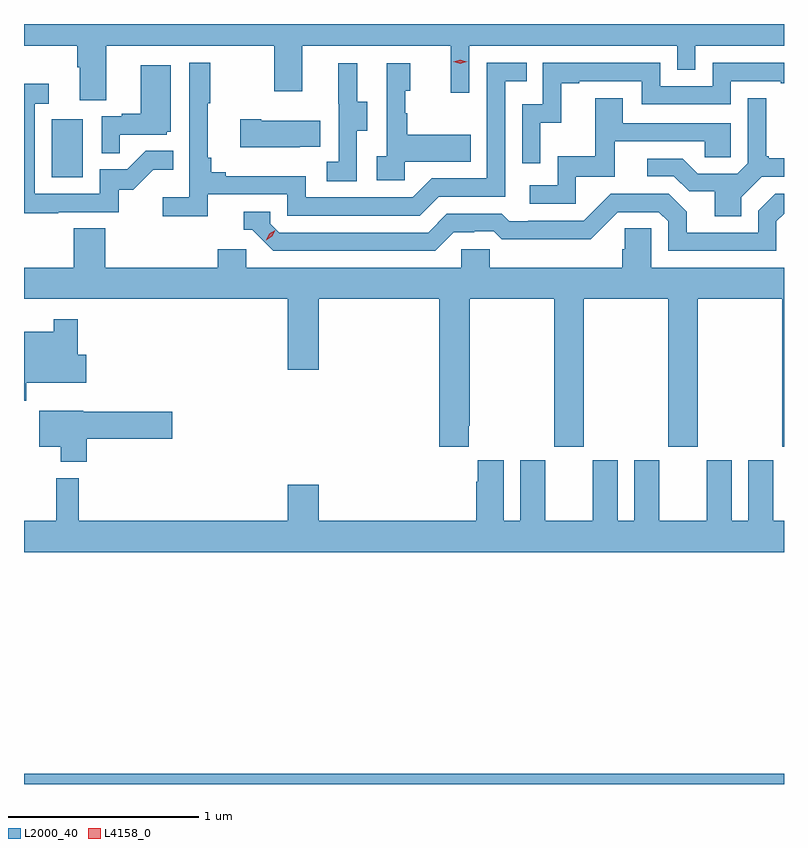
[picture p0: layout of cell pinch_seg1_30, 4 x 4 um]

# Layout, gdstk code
import gdstk
lib = gdstk.Library(unit=1e-6, precision=1e-09)
def R(c, l, rs):  # rectangles x0, y0, x1, y1
    for r in rs: c.add(gdstk.rectangle(r[:2], r[2:], *l))
def P(c, l, *ps):  # polygons
    for p in ps: c.add(gdstk.Polygon(p, *l))
L2000_40 = (2000, 40)
L4158_0 = (4158, 0)

pinch_seg1_30 = lib.new_cell('pinch_seg1_30')
R(pinch_seg1_30, L2000_40, [(1134.648,562.499,1138.648,562.552), (1134.794,565.692,1134.958,565.999)])
P(pinch_seg1_30, L2000_40, [(1135.081,566.384),(1135.966,566.384),(1135.966,566.145),(1136.113,566.145),(1136.113,566.384),(1136.894,566.384),(1136.894,566.136),(1136.991,566.136),(1136.991,566.384),(1138.086,566.384),(1138.086,566.257),(1138.182,566.257),(1138.182,566.384),(1138.648,566.384),(1138.648,566.499),(1134.648,566.499),(1134.648,566.384),(1134.929,566.384),(1134.929,566.272),(1134.941,566.272),(1134.941,566.098),(1135.081,566.098)],
  [(1135.616,565.602),(1136.034,565.602),(1136.034,565.491),(1136.731,565.491),(1136.83,565.59),(1137.18,565.59),(1137.18,566.199),(1137.293,566.199),(1137.293,566.295),(1137.084,566.295),(1137.084,565.686),(1136.793,565.686),(1136.694,565.587),(1136.13,565.587),(1136.13,565.699),(1135.711,565.699),(1135.711,565.718),(1135.634,565.718),(1135.634,565.795),(1135.615,565.795),(1135.615,566.083),(1135.627,566.083),(1135.627,566.296),(1135.518,566.296),(1135.518,565.588),(1135.377,565.588),(1135.377,565.486),(1135.616,565.486)],
  [(1137.366,565.979),(1137.476,565.979),(1137.476,566.187),(1137.571,566.187),(1137.571,566.199),(1137.9,566.199),(1137.9,566.076),(1138.368,566.076),(1138.368,566.199),(1138.631,566.199),(1138.631,566.187),(1138.648,566.187),(1138.648,566.295),(1138.272,566.295),(1138.272,566.172),(1137.996,566.172),(1137.996,566.295),(1137.378,566.295),(1137.378,566.076),(1137.27,566.076),(1137.27,565.767),(1137.366,565.767)],
  [(1136.4,565.936),(1136.455,565.936),(1136.455,566.091),(1136.401,566.091),(1136.401,566.293),(1136.303,566.293),(1136.303,566.079),(1136.304,566.079),(1136.304,565.775),(1136.241,565.775),(1136.241,565.672),(1136.4,565.672)],
  [(1136.652,565.775),(1136.999,565.775),(1136.999,565.915),(1136.665,565.915),(1136.665,566.03),(1136.655,566.03),(1136.655,566.148),(1136.68,566.148),(1136.68,566.293),(1136.556,566.293),(1136.556,565.802),(1136.505,565.802),(1136.505,565.677),(1136.652,565.677)],
  [(1135.151,565.917),(1135.398,565.917),(1135.398,565.932),(1135.42,565.932),(1135.42,566.281),(1135.262,566.281),(1135.262,566.026),(1135.163,566.026),(1135.163,566.013),(1135.056,566.013),(1135.056,565.819),(1135.151,565.819)],
  [(1134.827,565.509),(1135.146,565.509),(1135.146,565.626),(1135.222,565.626),(1135.329,565.733),(1135.433,565.733),(1135.433,565.832),(1135.289,565.832),(1135.191,565.734),(1135.047,565.734),(1135.047,565.605),(1134.705,565.605),(1134.705,566.079),(1134.778,566.079),(1134.778,566.185),(1134.648,566.185),(1134.648,565.504),(1134.827,565.504)],
  [(1137.552,565.695),(1137.757,565.695),(1137.757,565.881),(1138.231,565.881),(1138.231,565.797),(1138.368,565.797),(1138.368,565.977),(1137.799,565.977),(1137.799,566.107),(1137.655,566.107),(1137.655,565.804),(1137.456,565.804),(1137.456,565.65),(1137.309,565.65),(1137.309,565.554),(1137.552,565.554)],
  [(1138.423,565.588),(1138.53,565.695),(1138.648,565.695),(1138.648,565.792),(1138.567,565.792),(1138.567,565.804),(1138.555,565.804),(1138.555,566.107),(1138.458,566.107),(1138.458,565.767),(1138.401,565.71),(1138.195,565.71),(1138.114,565.791),(1137.927,565.791),(1137.927,565.698),(1138.068,565.698),(1138.148,565.618),(1138.283,565.618),(1138.283,565.486),(1138.423,565.486)],
  [(1136.099,565.853),(1136.207,565.853),(1136.207,565.99),(1135.897,565.99),(1135.897,565.998),(1135.785,565.998),(1135.785,565.85),(1136.099,565.85)],
  [(1136.911,565.404),(1137.018,565.404),(1137.018,565.407),(1137.121,565.407),(1137.163,565.365),(1137.396,565.365),(1137.396,565.367),(1137.632,565.367),(1137.774,565.509),(1137.99,565.509),(1138.038,565.461),(1138.038,565.305),(1138.608,565.305),(1138.608,565.461),(1138.648,565.501),(1138.648,565.605),(1138.602,565.605),(1138.512,565.515),(1138.512,565.401),(1138.135,565.401),(1138.135,565.511),(1138.041,565.605),(1137.735,565.605),(1137.594,565.464),(1137.301,565.464),(1137.301,565.461),(1137.202,565.461),(1137.163,565.5),(1136.874,565.5),(1136.775,565.401),(1135.992,565.401),(1135.944,565.449),(1135.944,565.512),(1135.805,565.512),(1135.805,565.416),(1135.848,565.416),(1135.959,565.305),(1136.812,565.305)],
  [(1136.989,564.385),(1136.994,564.385),(1136.994,565.052),(1137.439,565.052),(1137.439,564.273),(1137.594,564.273),(1137.594,565.052),(1138.039,565.052),(1138.039,564.273),(1138.194,564.273),(1138.194,565.052),(1138.639,565.052),(1138.639,564.273),(1138.648,564.273),(1138.648,565.216),(1137.948,565.216),(1137.948,565.424),(1137.811,565.424),(1137.811,565.314),(1137.797,565.314),(1137.797,565.216),(1137.099,565.216),(1137.099,565.314),(1136.949,565.314),(1136.949,565.216),(1135.818,565.216),(1135.818,565.314),(1135.667,565.314),(1135.667,565.216),(1135.076,565.216),(1135.076,565.424),(1134.911,565.424),(1134.911,565.216),(1134.648,565.216),(1134.648,565.052),(1136.036,565.052),(1136.036,564.678),(1136.2,564.678),(1136.2,565.052),(1136.834,565.052),(1136.834,564.273),(1136.989,564.273)],
  [(1134.659,564.611),(1134.976,564.611),(1134.976,564.759),(1134.932,564.759),(1134.932,564.946),(1134.804,564.946),(1134.804,564.88),(1134.648,564.88),(1134.648,564.515),(1134.659,564.515)],
  [(1134.977,564.316),(1135.429,564.316),(1135.429,564.458),(1134.96,564.458),(1134.96,564.463),(1134.728,564.463),(1134.728,564.275),(1134.842,564.275),(1134.842,564.194),(1134.977,564.194)],
  [(1138.648,563.884),(1138.591,563.884),(1138.591,564.202),(1138.46,564.202),(1138.46,563.884),(1138.372,563.884),(1138.372,564.202),(1138.241,564.202),(1138.241,563.884),(1137.991,563.884),(1137.991,564.202),(1137.86,564.202),(1137.86,563.884),(1137.772,563.884),(1137.772,564.202),(1137.641,564.202),(1137.641,563.884),(1137.391,563.884),(1137.391,564.202),(1137.26,564.202),(1137.26,563.884),(1137.172,563.884),(1137.172,564.202),(1137.035,564.202),(1137.035,564.089),(1137.029,564.089),(1137.029,563.884),(1136.2,563.884),(1136.2,564.073),(1136.036,564.073),(1136.036,563.884),(1134.935,563.884),(1134.935,564.109),(1134.818,564.109),(1134.818,563.884),(1134.648,563.884),(1134.648,563.72),(1138.648,563.72)])
P(pinch_seg1_30, L4158_0, [(1135.922,565.361),(1135.922,565.362),(1135.939,565.394),(1135.97,565.413),(1135.97,565.413),(1135.97,565.413),(1135.954,565.381),(1135.923,565.361)],
  [(1136.944,566.291),(1136.908,566.301),(1136.907,566.301),(1136.908,566.301),(1136.944,566.311),(1136.979,566.301),(1136.98,566.301),(1136.979,566.301)])

lib.write_gds('pinch_seg1_30.gds')
